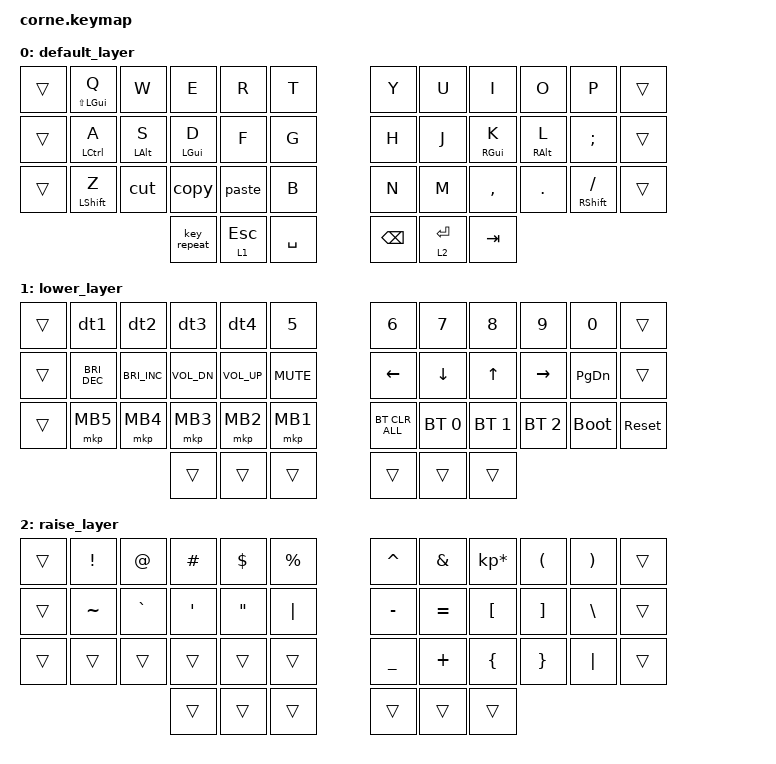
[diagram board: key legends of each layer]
/*
 * Copyright (c) 2020 The ZMK Contributors
 *
 * SPDX-License-Identifier: MIT
 */

#include <dt-bindings/zmk/mouse.h>
#include <behaviors.dtsi>
#include <dt-bindings/zmk/bt.h>
#include <dt-bindings/zmk/keys.h>

/ {
    combos {
        // 0   1   2   3   4   5  ||  6   7   8   9   10  11
        // 12  13  14  15  16  17 ||  18  19  20  21  22  23
        // 24  25  26  27  28 29  ||  30  31  32  33  34  35
        compatible = "zmk,combos";
        combo_esc {
            timeout-ms = <50>;
            key-positions = <19 20>;
            bindings = <&kp ESC>;
        };
        combo_nuke_line {
            timeout-ms = <50>;
            key-positions = <30 31>;
            bindings = <&kp LG(BSPC)>;
        };
        combo_nuke_word {
            timeout-ms = <50>;
            key-positions = <31 32>;
            bindings = <&kp LA(BSPC)>;
        };
        combo_cap_words {
            timeout-ms = <50>;
            key-positions = <15 16>;
            bindings = <&caps_word>;
        };
    };

    behaviors {
        ht: hold_tap {
            compatible = "zmk,behavior-hold-tap";
            #binding-cells = <2>;
            flavor = "tap-preferred";
            tapping-term-ms = <250>;
            quick-tap-ms = <150>;
            require-prior-idle-ms = <100>;
            bindings = <&kp>, <&kp>;
        };

        bhm: balanced_homerow_mods {
            compatible = "zmk,behavior-hold-tap";
            #binding-cells = <2>;
            tapping-term-ms = <250>;
            quick-tap-ms = <0>;
            flavor = "balanced";
            bindings = <&kp>, <&kp>;
        };

        cut: tap_dance_0 {
            compatible = "zmk,behavior-tap-dance";
            #binding-cells = <0>;
            tapping-term-ms = <250>;
            bindings = <&kp X>, <&kp LG(X)>;
        };

        copy: tap_dance_1 {
            compatible = "zmk,behavior-tap-dance";
            #binding-cells = <0>;
            tapping-term-ms = <250>;
            bindings = <&kp C>, <&kp LG(C)>;
        };

        paste: tap_dance_2 {
            compatible = "zmk,behavior-tap-dance";
            #binding-cells = <0>;
            tapping-term-ms = <250>;
            bindings = <&kp V>, <&kp LG(V)>;
        };

        dt1: tap_dance_3 {
            compatible = "zmk,behavior-tap-dance";
            #binding-cells = <0>;
            tapping-term-ms = <250>;
            bindings = <&kp N1>, <&kp LC(N1)>;
        };

        dt2: tap_dance_4 {
            compatible = "zmk,behavior-tap-dance";
            #binding-cells = <0>;
            tapping-term-ms = <250>;
            bindings = <&kp N2>, <&kp LC(N2)>;
        };

        dt3: tap_dance_5 {
            compatible = "zmk,behavior-tap-dance";
            #binding-cells = <0>;
            tapping-term-ms = <250>;
            bindings = <&kp N3>, <&kp LC(N3)>;
        };

        dt4: tap_dance_6 {
            compatible = "zmk,behavior-tap-dance";
            #binding-cells = <0>;
            tapping-term-ms = <250>;
            bindings = <&kp N4>, <&kp LC(N4)>;
        };
    };

    keymap {
        compatible = "zmk,keymap";

        default_layer {
            // -----------------------------------------------------------------------------------------
            // |  TAB |  Q  |  W  |  E  |  R  |  T  |   |  Y  |  U   |  I  |  O  |  P  | BKSP |
            // | CTRL |  A  |  S  |  D  |  F  |  G  |   |  H  |  J   |  K  |  L  |  ;  |  '   |
            // | SHFT |  Z  |  X  |  C  |  V  |  B  |   |  N  |  M   |  ,  |  .  |  /  | ESC  |
            //                    | GUI | LWR | SPC |   | ENT | RSE  | ALT |

            bindings = <
&trans  &mt LS(LGUI) Q  &kp W  &kp E         &kp R      &kp T        &kp Y     &kp U        &kp I         &kp O    &kp P     &trans
&trans         &bhm LCTRL A    &bhm LALT S  &bhm LGUI D  &kp F      &kp G &kp H &kp J  &bhm RGUI K  &bhm RALT L    &kp SEMI  &trans
&trans         &bhm LSHIFT Z  &cut   &copy         &paste     &kp B        &kp N     &kp M        &kp COMMA     &kp DOT  &bhm RSHIFT FSLH  &trans
                                &key_repeat  &lt 1 ESC  &kp SPACE    &kp BSPC  &lt 2 ENTER  &kp TAB
            >;
        };

        lower_layer {
            // -----------------------------------------------------------------------------------------
            // |  TAB |  1  |  2  |  3  |  4  |  5  |   |  6  |  7  |  8  |  9  |  0  | BKSP |
            // | BTCLR| BT1 | BT2 | BT3 | BT4 | BT5 |   | LFT | DWN |  UP | RGT |     |      |
            // | SHFT |     |     |     |     |     |   |     |     |     |     |     |      |
            //                    | GUI |     | SPC |   | ENT |     | ALT |

            bindings = <
&trans         &dt1           &dt2          &dt3          &dt4        &kp N5      &kp N6          &kp N7        &kp N8        &kp N9        &kp N0         &trans
&trans &kp C_BRI_DEC  &kp C_BRI_INC  &kp C_VOL_DN  &kp C_VOL_UP  &kp C_MUTE    &kp LEFT        &kp DOWN      &kp UP_ARROW  &kp RIGHT     &kp PAGE_DOWN &trans
&trans &mkp MB5       &mkp MB4       &mkp MB3      &mkp MB2      &mkp MB1     &bt BT_CLR_ALL  &bt BT_SEL 0  &bt BT_SEL 1  &bt BT_SEL 2  &bootloader    &sys_reset
                                            &trans        &trans      &trans      &trans          &trans        &trans
            >;
        };

        raise_layer {
            // -----------------------------------------------------------------------------------------
            // |  TAB |  !  |  @  |  #  |  $  |  %  |   |  ^  |  &  |  *  |  (  |  )  | BKSP |
            // | CTRL |     |     |     |     |     |   |  -  |  =  |  [  |  ]  |  \  |  `   |
            // | SHFT |     |     |     |     |     |   |  _  |  +  |  {  |  }  | "|" |  ~   |
            //                    | GUI |     | SPC |   | ENT |     | ALT |

            bindings = <
&trans     &kp EXCL   &kp AT     &kp HASH  &kp DLLR  &kp PRCNT    &kp CARET  &kp AMPS   &kp KP_MULTIPLY  &kp LPAR  &kp RPAR  &trans
&trans  &kp TILDE  &kp GRAVE  &kp SQT   &kp DQT &kp PIPE       &kp MINUS  &kp EQUAL  &kp LBKT         &kp RBKT  &kp BSLH &trans
&trans     &trans     &trans     &trans    &trans    &trans       &kp UNDER  &kp PLUS   &kp LBRC         &kp RBRC  &kp PIPE &trans
                                 &trans    &trans    &trans       &trans     &trans     &trans
            >;
        };
    };
};
